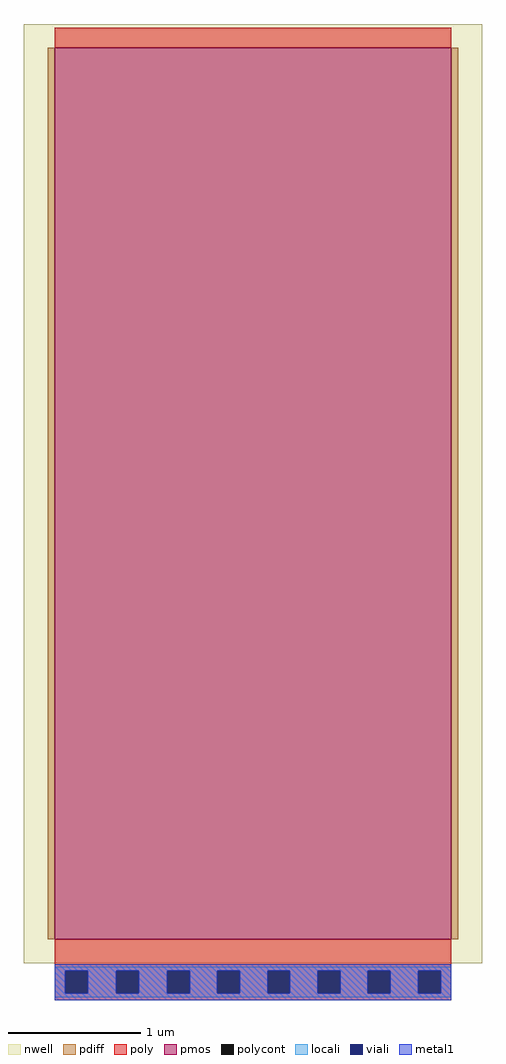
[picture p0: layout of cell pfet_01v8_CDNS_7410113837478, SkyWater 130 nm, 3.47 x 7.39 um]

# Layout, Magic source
magic
tech sky130A
magscale 1 2
<< nwell >>
rect -47 -36 647 1386
<< pmos >>
rect 0 0 600 1350
<< pdiff >>
rect -11 0 0 1350
rect 600 0 611 1350
<< poly >>
rect 0 1350 600 1380
rect 0 -48 600 0
rect 0 -82 16 -48
rect 50 -82 93 -48
rect 127 -82 170 -48
rect 204 -82 246 -48
rect 280 -82 322 -48
rect 356 -82 398 -48
rect 432 -82 474 -48
rect 508 -82 550 -48
rect 584 -82 600 -48
rect 0 -92 600 -82
<< polycont >>
rect 16 -82 50 -48
rect 93 -82 127 -48
rect 170 -82 204 -48
rect 246 -82 280 -48
rect 322 -82 356 -48
rect 398 -82 432 -48
rect 474 -82 508 -48
rect 550 -82 584 -48
<< locali >>
rect 0 -48 600 -42
rect 0 -82 16 -48
rect 50 -82 93 -48
rect 127 -82 170 -48
rect 204 -82 246 -48
rect 280 -82 322 -48
rect 356 -82 398 -48
rect 432 -82 474 -48
rect 508 -82 550 -48
rect 584 -82 600 -48
rect 0 -88 600 -82
<< viali >>
rect 16 -82 50 -48
rect 93 -82 127 -48
rect 170 -82 204 -48
rect 246 -82 280 -48
rect 322 -82 356 -48
rect 398 -82 432 -48
rect 474 -82 508 -48
rect 550 -82 584 -48
<< metal1 >>
rect 0 -48 600 -38
rect 0 -82 16 -48
rect 50 -82 93 -48
rect 127 -82 170 -48
rect 204 -82 246 -48
rect 280 -82 322 -48
rect 356 -82 398 -48
rect 432 -82 474 -48
rect 508 -82 550 -48
rect 584 -82 600 -48
rect 0 -92 600 -82
<< end >>
